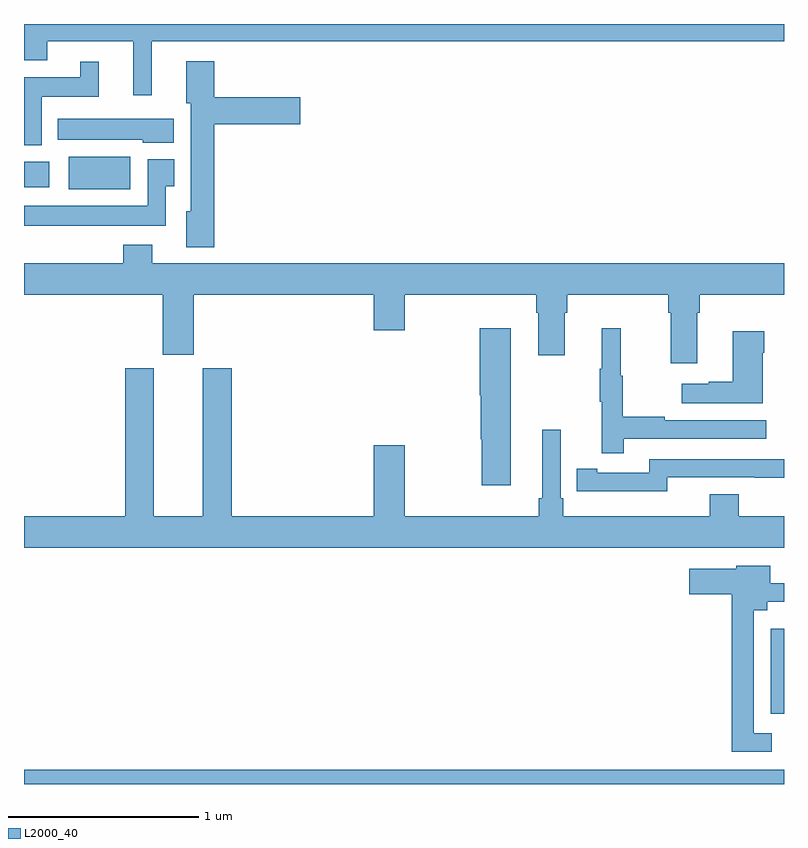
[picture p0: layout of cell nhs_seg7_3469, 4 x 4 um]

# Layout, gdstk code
import gdstk
lib = gdstk.Library(unit=1e-6, precision=1e-09)
def R(c, l, rs):  # rectangles x0, y0, x1, y1
    for r in rs: c.add(gdstk.rectangle(r[:2], r[2:], *l))
def P(c, l, *ps):  # polygons
    for p in ps: c.add(gdstk.Polygon(p, *l))
L2000_40 = (2000, 40)

nhs_seg7_3469 = lib.new_cell('nhs_seg7_3469')
R(nhs_seg7_3469, L2000_40, [(331,1038,335,1038.076), (334.931,1038.369,335,1038.817), (331.235,1041.131,331.558,1041.301), (331,1041.14,331.132,1041.274)])
P(nhs_seg7_3469, L2000_40, [(331.673,1041.908),(335,1041.908),(335,1042),(331,1042),(331,1041.809),(331.123,1041.809),(331.123,1041.908),(331.574,1041.908),(331.574,1041.624),(331.673,1041.624)],
  [(332,1041.473),(332.455,1041.473),(332.455,1041.615),(332,1041.615),(332,1041.805),(331.853,1041.805),(331.853,1041.582),(331.877,1041.582),(331.877,1041.015),(331.853,1041.015),(331.853,1040.825),(332,1040.825)],
  [(331.093,1041.617),(331.394,1041.617),(331.394,1041.802),(331.295,1041.802),(331.295,1041.721),(331,1041.721),(331,1041.362),(331.093,1041.362)],
  [(331.789,1041.502),(331.178,1041.502),(331.178,1041.392),(331.626,1041.392),(331.626,1041.374),(331.789,1041.374)],
  [(331.747,1041.145),(331.792,1041.145),(331.792,1041.289),(331.65,1041.289),(331.65,1041.043),(331,1041.043),(331,1040.939),(331.747,1040.939)],
  [(334.543,1040.48),(334.556,1040.48),(334.556,1040.576),(335,1040.576),(335,1040.74),(331.675,1040.74),(331.675,1040.839),(331.523,1040.839),(331.523,1040.74),(331,1040.74),(331,1040.576),(331.73,1040.576),(331.73,1040.259),(331.894,1040.259),(331.894,1040.576),(332.84,1040.576),(332.84,1040.388),(333.004,1040.388),(333.004,1040.576),(333.695,1040.576),(333.695,1040.48),(333.707,1040.48),(333.707,1040.256),(333.847,1040.256),(333.847,1040.48),(333.86,1040.48),(333.86,1040.576),(334.391,1040.576),(334.391,1040.48),(334.403,1040.48),(334.403,1040.214),(334.543,1040.214)],
  [(333.562,1040.398),(333.398,1040.398),(333.398,1040.046),(333.404,1040.046),(333.404,1039.815),(333.409,1039.815),(333.409,1039.572),(333.562,1039.572)],
  [(334.157,1039.818),(334.906,1039.818),(334.906,1039.914),(334.373,1039.914),(334.373,1039.934),(334.15,1039.934),(334.15,1040.148),(334.142,1040.148),(334.142,1040.398),(334.04,1040.398),(334.04,1040.185),(334.029,1040.185),(334.029,1040.011),(334.04,1040.011),(334.04,1039.74),(334.157,1039.74)],
  [(334.888,1040.27),(334.896,1040.27),(334.896,1040.382),(334.73,1040.382),(334.73,1040.117),(334.604,1040.117),(334.604,1040.107),(334.461,1040.107),(334.461,1040.003),(334.888,1040.003)],
  [(335,1039.408),(334.763,1039.408),(334.763,1039.525),(334.61,1039.525),(334.61,1039.408),(333.839,1039.408),(333.839,1039.504),(333.825,1039.504),(333.825,1039.864),(333.728,1039.864),(333.728,1039.504),(333.709,1039.504),(333.709,1039.408),(333.004,1039.408),(333.004,1039.783),(332.84,1039.783),(332.84,1039.408),(332.093,1039.408),(332.093,1040.187),(331.94,1040.187),(331.94,1039.408),(331.684,1039.408),(331.684,1040.187),(331.532,1040.187),(331.532,1039.408),(331,1039.408),(331,1039.244),(335,1039.244)],
  [(334.386,1039.614),(334.846,1039.614),(334.846,1039.613),(335,1039.613),(335,1039.71),(334.29,1039.71),(334.29,1039.638),(334.018,1039.638),(334.018,1039.658),(333.91,1039.658),(333.91,1039.542),(334.018,1039.542),(334.018,1039.541),(334.386,1039.541)],
  [(334.936,1038.267),(334.842,1038.267),(334.842,1038.914),(334.912,1038.914),(334.912,1038.96),(335,1038.96),(335,1039.056),(334.927,1039.056),(334.927,1039.15),(334.749,1039.15),(334.749,1039.132),(334.5,1039.132),(334.5,1038.998),(334.726,1038.998),(334.726,1038.171),(334.936,1038.171)])

lib.write_gds('nhs_seg7_3469.gds')
